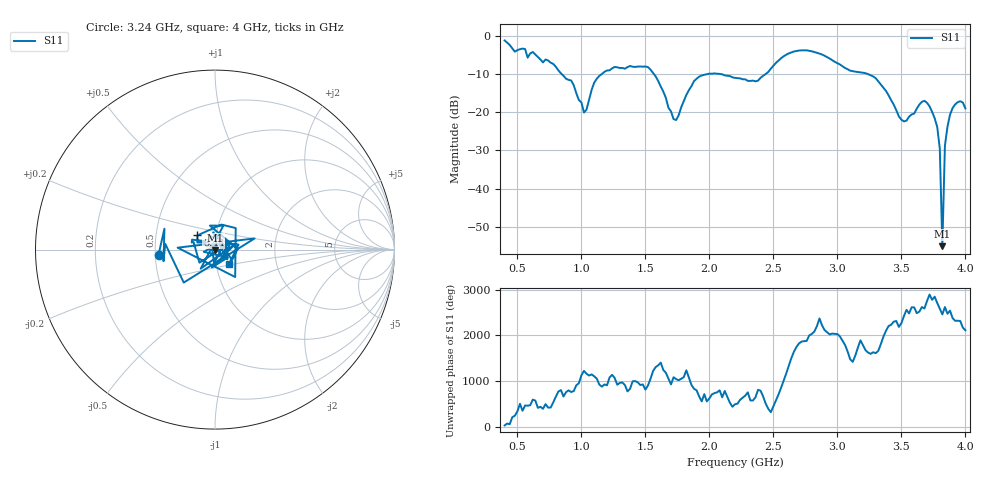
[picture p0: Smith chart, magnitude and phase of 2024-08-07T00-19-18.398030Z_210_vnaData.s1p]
!Created with skrf (http://scikit-rf.org).
# Hz S RI R 50.0
!freq ReS11 ImS11
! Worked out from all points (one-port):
!   181 points, 400 MHz to 4 GHz, reference 50 ohm
!   lowest |S11| = -55.1 dB at 3.82 GHz (marker M1), VSWR 1.00, Z = 50.1 - j0.151 ohm
!   |S11| at or under -10 dB: 1.566 GHz to 1.986 GHz (419.7 MHz wide, 23.6 % of centre); 2.088 GHz to 2.439 GHz (350.7 MHz wide, 15.5 % of centre); 3.239 GHz to end of sweep (the widest 3 of 4)
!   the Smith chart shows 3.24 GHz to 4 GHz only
!   S11 on the Smith chart (normalised r, x): 3.24 GHz: 0.52, -0.03; 3.44 GHz: 0.81, +0.13; 4 GHz: 1.15, -0.19
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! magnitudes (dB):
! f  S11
! 400 MHz  -1.2
! 860 MHz  -10.5
! 920 MHz  -11.7
! 1.02 GHz  -20.1
! 1.12 GHz  -11.2
! 1.3 GHz  -8.4
! 1.52 GHz  -8.2
! 1.6 GHz  -11.8
! 1.72 GHz  -21.8
! 1.76 GHz  -20.8
! 1.92 GHz  -10.7
! 2.2 GHz  -11.0
! 2.38 GHz  -11.7
! 2.66 GHz  -4.1
! 2.86 GHz  -4.6
! 3.1 GHz  -9.1
! 3.24 GHz  -10.0
! 3.44 GHz  -18.0
! 3.5 GHz  -22.0
! 3.56 GHz  -21.2
! 3.68 GHz  -17.0
! 3.78 GHz  -23.9
! 3.8 GHz  -29.5
! 3.82 GHz  -55.1
! 3.84 GHz  -28.8
! 3.86 GHz  -23.8
! 3.92 GHz  -17.9
! 4 GHz  -19.0
